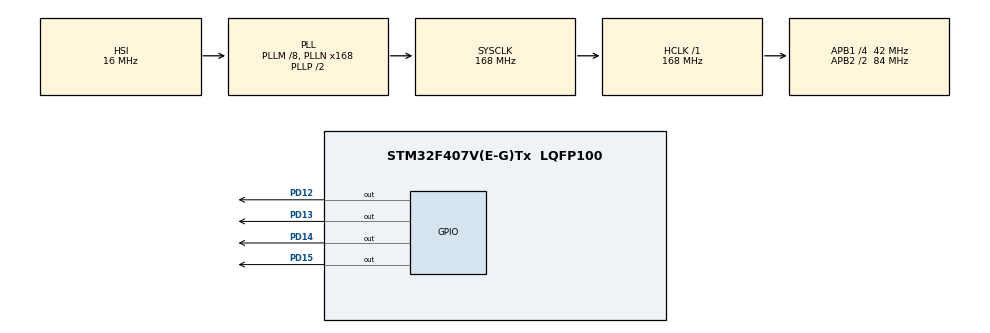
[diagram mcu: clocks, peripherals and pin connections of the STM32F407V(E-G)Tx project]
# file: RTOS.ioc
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FREERTOS.Tasks01=TareaPorDefecto,0,256,Tarea1,Default,NULL,Dynamic,NULL,NULL;ledTask,-3,128,TareaLed,Default,NULL,Dynamic,NULL,NULL
FREERTOS.configENABLE_FPU=0
Mcu.Family=STM32F4
Mcu.Name=STM32F407V(E-G)Tx
Mcu.Package=LQFP100
NVIC.PriorityGroup=NVIC_PRIORITYGROUP_4
NVIC.TIM6_DAC_IRQn=true\:15\:0\:false\:false\:true\:false\:false\:true\:true
NVIC.TimeBase=TIM6_DAC_IRQn
NVIC.TimeBaseIP=TIM6
PD12.Signal=GPIO_Output
PD13.Signal=GPIO_Output
PD14.Signal=GPIO_Output
PD15.Signal=GPIO_Output
PH0-OSC_IN.Mode=HSE-External-Oscillator
PH0-OSC_IN.Signal=RCC_OSC_IN
PH1-OSC_OUT.Mode=HSE-External-Oscillator
PH1-OSC_OUT.Signal=RCC_OSC_OUT
ProjectManager.HeapSize=0x200
ProjectManager.StackSize=0x400
ProjectManager.TargetToolchain=STM32CubeIDE
RCC.48MHZClocksFreq_Value=84000000
RCC.AHBFreq_Value=168000000
RCC.APB1CLKDivider=RCC_HCLK_DIV4
RCC.APB1Freq_Value=42000000
RCC.APB1TimFreq_Value=84000000
RCC.APB2CLKDivider=RCC_HCLK_DIV2
RCC.APB2Freq_Value=84000000
RCC.APB2TimFreq_Value=168000000
RCC.CortexFreq_Value=168000000
RCC.HCLKFreq_Value=168000000
RCC.HSE_VALUE=8000000
RCC.HSI_VALUE=16000000
RCC.LSE_VALUE=32768
RCC.PLLM=8
RCC.PLLN=168
RCC.SYSCLKFreq_VALUE=168000000
RCC.SYSCLKSource=RCC_SYSCLKSOURCE_PLLCLK
RCC.VCOOutputFreq_Value=336000000
VP_FREERTOS_VS_CMSIS_V1.Mode=CMSIS_V1
VP_SYS_VS_tim6.Mode=TIM6
board=custom

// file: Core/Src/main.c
/* USER CODE BEGIN Header */
/**
  ******************************************************************************
  * @file           : main.c
  * @brief          : Main program body
  ******************************************************************************
  * @attention
  *
  * Copyright (c) 2022 STMicroelectronics.
  * All rights reserved.
  *
  * This software is licensed under terms that can be found in the LICENSE file
  * in the root directory of this software component.
  * If no LICENSE file comes with this software, it is provided AS-IS.
  *
  ******************************************************************************
  */
/* USER CODE END Header */
#include "main.h"
#include "cmsis_os.h"
#include "gpio.h"

void SystemClock_Config(void);
void MX_FREERTOS_Init(void);

int main(void)
{

  /* MCU Configuration--------------------------------------------------------*/

  /* Reset of all peripherals, Initializes the Flash interface and the Systick. */
  HAL_Init();

  /* Configure the system clock */
  SystemClock_Config();

  /* Initialize all configured peripherals */
  MX_GPIO_Init();

  /* Call init function for freertos objects (in freertos.c) */
  MX_FREERTOS_Init();

  /* Start scheduler */
  osKernelStart();

  /* We should never get here as control is now taken by the scheduler */
  /* Infinite loop */
  while (1)
  {

  }
}

void SystemClock_Config(void)
{
  RCC_OscInitTypeDef RCC_OscInitStruct = {0};
  RCC_ClkInitTypeDef RCC_ClkInitStruct = {0};

  /** Configure the main internal regulator output voltage
  */
  __HAL_RCC_PWR_CLK_ENABLE();
  __HAL_PWR_VOLTAGESCALING_CONFIG(PWR_REGULATOR_VOLTAGE_SCALE1);

  /** Initializes the RCC Oscillators according to the specified parameters
  * in the RCC_OscInitTypeDef structure.
  */
  RCC_OscInitStruct.OscillatorType = RCC_OSCILLATORTYPE_HSI;
  RCC_OscInitStruct.HSIState = RCC_HSI_ON;
  RCC_OscInitStruct.HSICalibrationValue = RCC_HSICALIBRATION_DEFAULT;
  RCC_OscInitStruct.PLL.PLLState = RCC_PLL_ON;
  RCC_OscInitStruct.PLL.PLLSource = RCC_PLLSOURCE_HSI;
  RCC_OscInitStruct.PLL.PLLM = 8;
  RCC_OscInitStruct.PLL.PLLN = 168;
  RCC_OscInitStruct.PLL.PLLP = RCC_PLLP_DIV2;
  RCC_OscInitStruct.PLL.PLLQ = 4;
  if (HAL_RCC_OscConfig(&RCC_OscInitStruct) != HAL_OK)
  {
    Error_Handler();
  }

  /** Initializes the CPU, AHB and APB buses clocks
  */
  RCC_ClkInitStruct.ClockType = RCC_CLOCKTYPE_HCLK|RCC_CLOCKTYPE_SYSCLK
                              |RCC_CLOCKTYPE_PCLK1|RCC_CLOCKTYPE_PCLK2;
  RCC_ClkInitStruct.SYSCLKSource = RCC_SYSCLKSOURCE_PLLCLK;
  RCC_ClkInitStruct.AHBCLKDivider = RCC_SYSCLK_DIV1;
  RCC_ClkInitStruct.APB1CLKDivider = RCC_HCLK_DIV4;
  RCC_ClkInitStruct.APB2CLKDivider = RCC_HCLK_DIV2;

  if (HAL_RCC_ClockConfig(&RCC_ClkInitStruct, FLASH_LATENCY_5) != HAL_OK)
  {
    Error_Handler();
  }
}

void HAL_TIM_PeriodElapsedCallback(TIM_HandleTypeDef *htim)
{
  if (htim->Instance == TIM6) {
    HAL_IncTick();
  }
}

void Error_Handler(void)
{
  __disable_irq();
  while (1)
  {
  }
}

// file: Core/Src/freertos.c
/* USER CODE BEGIN Header */
/**
  ******************************************************************************
  * File Name          : freertos.c
  * Description        : Code for freertos applications
  ******************************************************************************
  * @attention
  *
  * Copyright (c) 2022 STMicroelectronics.
  * All rights reserved.
  *
  * This software is licensed under terms that can be found in the LICENSE file
  * in the root directory of this software component.
  * If no LICENSE file comes with this software, it is provided AS-IS.
  *
  ******************************************************************************
  */
/* USER CODE END Header */

#include "FreeRTOS.h"
#include "task.h"
#include "main.h"
#include "cmsis_os.h"

/* USER CODE BEGIN PTD */
typedef union{
	struct{
		uint8_t b0: 1;
		uint8_t b1: 1;
		uint8_t b2: 1;
		uint8_t b3: 1;
		uint8_t b4: 1;
		uint8_t b5: 1;
		uint8_t b7: 1;
	}F;
	uint8_t BYTE;
}Led_union_t;
typedef struct{

	uint8_t led1 : 1;
	uint8_t led2 : 1;
	uint8_t led3 : 1;
	uint8_t led4 : 1;
}Led_t;
/* USER CODE END PTD */

/* USER CODE BEGIN Variables */
QueueHandle_t queue_led = NULL;
/* USER CODE END Variables */
osThreadId TareaPorDefectoHandle;
osThreadId ledTaskHandle;

void Tarea1(void const * argument);
void TareaLed(void const * argument);

void MX_FREERTOS_Init(void); /* (MISRA C 2004 rule 8.1) */

/* GetIdleTaskMemory prototype (linked to static allocation support) */
void vApplicationGetIdleTaskMemory( StaticTask_t **ppxIdleTaskTCBBuffer, StackType_t **ppxIdleTaskStackBuffer, uint32_t *pulIdleTaskStackSize );

/* USER CODE BEGIN GET_IDLE_TASK_MEMORY */
static StaticTask_t xIdleTaskTCBBuffer;
static StackType_t xIdleStack[configMINIMAL_STACK_SIZE];

void vApplicationGetIdleTaskMemory( StaticTask_t **ppxIdleTaskTCBBuffer, StackType_t **ppxIdleTaskStackBuffer, uint32_t *pulIdleTaskStackSize )
{
  *ppxIdleTaskTCBBuffer = &xIdleTaskTCBBuffer;
  *ppxIdleTaskStackBuffer = &xIdleStack[0];
  *pulIdleTaskStackSize = configMINIMAL_STACK_SIZE;
  /* place for user code */
}
/* USER CODE END GET_IDLE_TASK_MEMORY */

void MX_FREERTOS_Init(void) {

  /* USER CODE BEGIN RTOS_QUEUES */
  /* add queues, ... */
	queue_led = xQueueCreate(4, sizeof(Led_t));
	configASSERT(queue_led != NULL);
  /* USER CODE END RTOS_QUEUES */

  /* Create the thread(s) */
  /* definition and creation of TareaPorDefecto */
  osThreadDef(TareaPorDefecto, Tarea1, osPriorityNormal, 0, 256);
  TareaPorDefectoHandle = osThreadCreate(osThread(TareaPorDefecto), NULL);

  /* definition and creation of ledTask */
  osThreadDef(ledTask, TareaLed, osPriorityIdle, 0, 128);
  ledTaskHandle = osThreadCreate(osThread(ledTask), NULL);

}

void Tarea1(void const * argument)
{
	Led_t xQueue;
  /* USER CODE BEGIN Tarea1 */
  /* Infinite loop */
  for(;;)
  {
	  xQueue.led1 = 1; xQueue.led2 = 0; xQueue.led3 = 0; xQueue.led4 = 0;
	  xQueueSend(queue_led, (void *) &xQueue, 1000);
	  osDelay(500);
	  xQueue.led1 = 0; xQueue.led2 = 1; xQueue.led3 = 0; xQueue.led4 = 0;
	  xQueueSend(queue_led, (void *) &xQueue, 1000);
	  osDelay(1000);
	  xQueue.led1 = 0; xQueue.led2 = 0; xQueue.led3 = 1; xQueue.led4 = 0;
	  xQueueSend(queue_led, (void *) &xQueue, 1000);
	  osDelay(200);
	  xQueue.led1 = 0; xQueue.led2 = 0; xQueue.led3 = 0; xQueue.led4 = 1;
	  xQueueSend(queue_led, (void *) &xQueue, 1000);
	  osDelay(2000);
  }
  /* USER CODE END Tarea1 */
}

void TareaLed(void const * argument)
{
	Led_t xQueue_rx;
  /* USER CODE BEGIN TareaLed */
  /* Infinite loop */
  for(;;)
  {
    if(xQueueReceive(queue_led, (void *)&xQueue_rx, portMAX_DELAY) == pdTRUE){
    	GPIOD->ODR &=~ (0xF<<12);
    	GPIOD->ODR |= xQueue_rx.led1<<15 | xQueue_rx.led2<<14 | xQueue_rx.led3<<13 | xQueue_rx.led4<<12;
    }
  }
  /* USER CODE END TareaLed */
}
